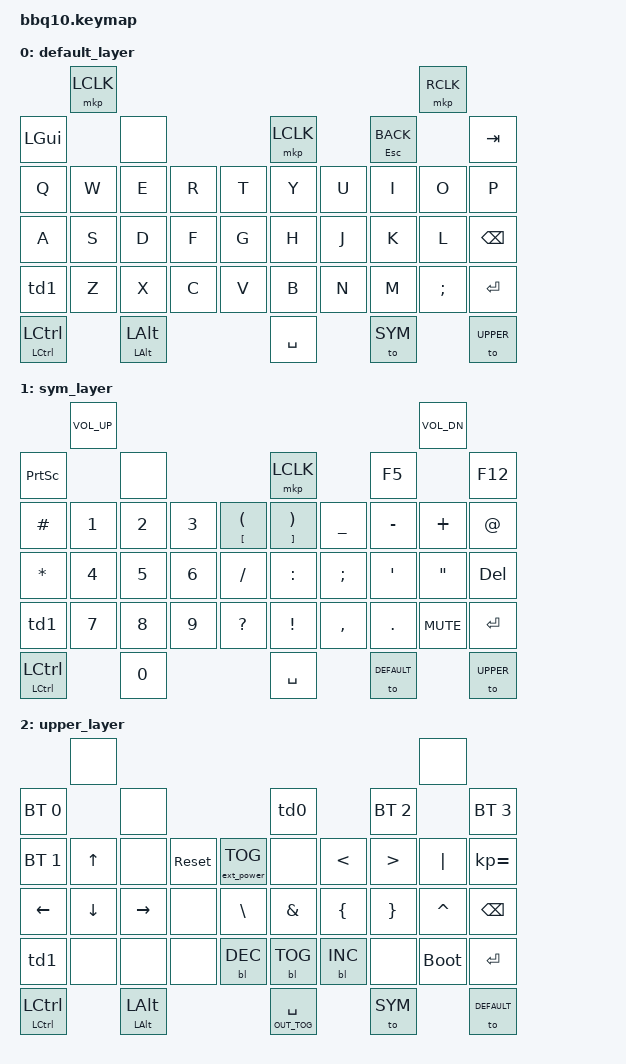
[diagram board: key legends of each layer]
/*
 * Copyright (c) 2023 ZitaoTech
 *
 * SPDX-License-Identifier: MIT
 */

#include <behaviors.dtsi>
#include <dt-bindings/zmk/keys.h>
#include <dt-bindings/zmk/bt.h>
#include <dt-bindings/zmk/outputs.h>
#include <dt-bindings/zmk/mouse.h>
#include <dt-bindings/zmk/backlight.h>
#include <dt-bindings/zmk/ext_power.h>
  
#define DEFAULT 0
#define SYM 1
#define UPPER 2


/ {
    behaviors {
        td0: tap_dance_0 {
            compatible = "zmk,behavior-tap-dance";
            #binding-cells = <0>;
            tapping-term-ms = <400>;
            bindings = <&mkp LCLK>, <&bt BT_CLR>;
        };
    };
    behaviors {
        td1: tap_dance_1 {
            compatible = "zmk,behavior-tap-dance";
            #binding-cells = <0>;
            tapping-term-ms = <250>;
            bindings = <&sk LSHFT>, <&kp CLCK>;
        };
    };
    behaviors {
        mtns: mod_tap_ns {
            compatible = "zmk,behavior-hold-tap";
            #binding-cells = <2>;
            flavor = "hold-preferred";
            tapping-term-ms = <250>;
            bindings = <&kp>, <&sk>;
            display-name = "Mod-Tap-NS";
        };
    };
    behaviors {
        hm: homerow_mods {
            compatible = "zmk,behavior-hold-tap";
            #binding-cells = <2>;
            tapping-term-ms = <500>;
            bindings = <&out &kp>;
        };
    };

    keymap {
        compatible = "zmk,keymap";

        default_layer {

            bindings = <
//         --------------------------------------------------------------------------------------------------------------------------         
//         |    Shoulder Key1    |                                                                             |    Shoulder Key2    |     
// |         Call key      |      Blackberry Key        |    Trackpad    |             Back Key                |             Endcall Key          |
// |     Q      |     W    |     E    |     R    |      T      |       Y        |       U        |        I        |       O      |      P        |     
// |     A      |     S    |     D    |     F    |      G      |       H        |       J        |        K        |       L      |      ←        |  
// |     alt    |     Z    |     X    |     C    |      V      |       B        |       N        |        M        |       $      |    Enter      |   
//        |         aA     |         0           |           SPACE              |         SYM         |        aA          |       
//        -----------------------------------------------------------------------------------------------------------------

                 &mkp LCLK                                                                                          &mkp RCLK
    &kp LGUI                &none                               &mkp LCLK                          &mt ESC K_BACK                    &kp TAB
    &kp Q        &kp W      &kp E       &kp R     &kp T         &kp Y             &kp U            &kp I            &kp O            &kp P
    &kp A        &kp S      &kp D       &kp F     &kp G         &kp H             &kp J            &kp K            &kp L            &kp BSPC
    &td1         &kp Z      &kp X       &kp C     &kp V         &kp B             &kp N            &kp M            &kp SEMI         &kp ENTER
    &mtns LCTRL LCTRL       &mtns LALT LALT                     &kp SPACE                          &to SYM                           &to UPPER
            >;
        };


        sym_layer {

            bindings = <        
                 &kp C_VOL_UP                                                                                       &kp C_VOL_DN
    &kp PSCRN               &none                               &mkp LCLK                          &kp F5                            &kp F12 
    &kp HASH     &kp N1     &kp N2      &kp N3    &mt LBKT LPAR &mt RBKT RPAR     &kp UNDER        &kp MINUS        &kp PLUS         &kp AT
    &kp STAR     &kp N4     &kp N5      &kp N6    &kp SLASH     &kp COLON         &kp SEMI         &kp APOS         &kp DQT          &kp DEL
    &td1         &kp N7     &kp N8      &kp N9    &kp QMARK     &kp EXCL          &kp COMMA        &kp DOT          &kp C_MUTE       &kp ENTER
    &mtns LCTRL LCTRL       &kp N0                              &kp SPACE                          &to DEFAULT                       &to UPPER
            >;
        };

        upper_layer {

            bindings = <
                 &none                                                                                              &none
    &bt BT_SEL 0            &none                                    &td0                           &bt BT_SEL 2                     &bt BT_SEL 3
    &bt BT_SEL 1 &kp UP     &none       &sys_reset &ext_power EP_TOG &none         &kp LT           &kp GT          &kp PIPE         &kp KP_EQUAL
    &kp LEFT     &kp DOWN   &kp RIGHT   &none      &kp BSLH          &kp AMPS      &kp LBRC         &kp RBRC        &kp CARET        &kp BSPC
    &td1         &none      &none       &none      &bl BL_DEC        &bl BL_TOG    &bl BL_INC       &none           &bootloader      &kp ENTER
    &mtns LCTRL LCTRL       &mtns LALT LALT                          &hm OUT_TOG SPACE              &to SYM                          &to DEFAULT
            >;
        };
    };
};

